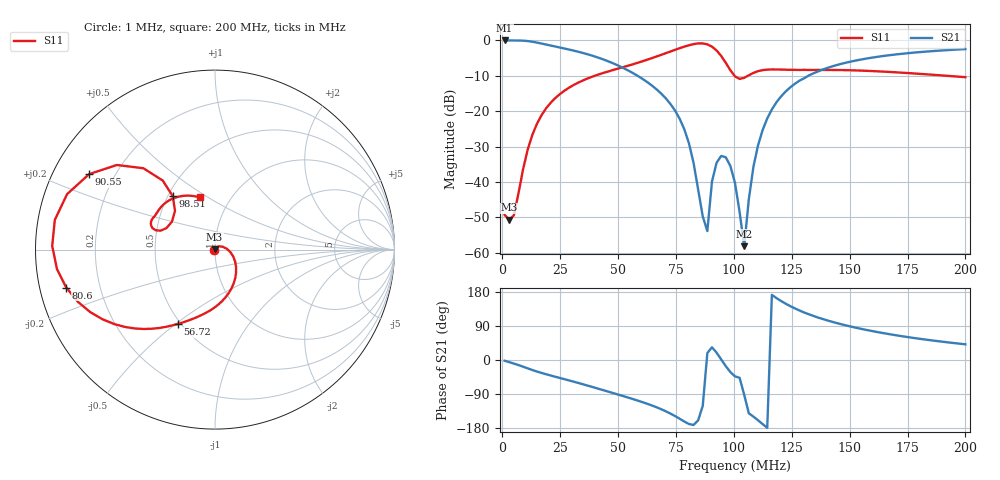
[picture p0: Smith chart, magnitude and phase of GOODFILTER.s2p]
!File created by NanoVNA
# Hz S RI R 50
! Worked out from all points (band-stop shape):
!   101 points, 1 MHz to 200 MHz, reference 50 ohm
!   highest |S21| = 0.00 dB at 1 MHz (marker M1); lowest = -58.2 dB at 104.5 MHz (marker M2)
!   |S21| within 3 dB of the highest: start of sweep to 31.6 MHz; 186 MHz to end of sweep
!   lowest |S11| = -50.7 dB at 2.99 MHz (marker M3), VSWR 1.01, Z = 49.8 + j0.159 ohm
!   |S11| at or under -10 dB: start of sweep to 39.9 MHz; 100.3 MHz to 106 MHz (5.735 MHz wide, 5.56 % of centre); 192.1 MHz to end of sweep
!   S12 and S22 are empty: the file has one direction only
!   S11 on the Smith chart (normalised r, x): 1 MHz: 0.99, +0.00; 56.72 MHz: 0.48, -0.51; 80.6 MHz: 0.08, -0.13; 90.55 MHz: 0.11, +0.27; 98.51 MHz: 0.53, +0.37; 200 MHz: 0.72, +0.46
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1000000  -0.00338 0.000513  0.9992 -0.0326  0 0  0 0
2990000  -0.00244 0.0016  0.9944 -0.0975  0 0  0 0
4980000  -0.00106 0.00319  0.9852 -0.1632  0 0  0 0
1.095e7  0.0218 0.0183  0.9091 -0.3678  0 0  0 0
1.493e7  0.0658 0.00469  0.8053 -0.4712  0 0  0 0
2.289e7  0.1175 -0.0984  0.5883 -0.5722  0 0  0 0
3.483e7  0.0592 -0.2654  0.2912 -0.5979  0 0  0 0
5.672e7  -0.2085 -0.4146  -0.0809 -0.3316  0 0  0 0
6.866e7  -0.4462 -0.4395  -0.1136 -0.1356  0 0  0 0
8.06e7  -0.8284 -0.2121  -0.0346 -0.00678  0 0  0 0
8.856e7  -0.824 0.309  0.00192 0.000639  0 0  0 0
9.055e7  -0.7013 0.4206  0.00841 0.00558  0 0  0 0
9.453e7  -0.399 0.4532  0.0233 0.000622  0 0  0 0
9.851e7  -0.235 0.2971  0.0143 -0.00888  0 0  0 0
1.005e8  -0.2229 0.2158  0.00703 -0.00661  0 0  0 0
1.0448e8  -0.2713 0.119  -4.39e-05 -0.00123  0 0  0 0
1.0846e8  -0.3308 0.1078  -0.0141 -0.00836  0 0  0 0
1.1443e8  -0.3575 0.1483  -0.079 -0.00143  0 0  0 0
1.2239e8  -0.34 0.1826  -0.162 0.099  0 0  0 0
1.3433e8  -0.317 0.2147  -0.1526 0.3071  0 0  0 0
1.6816e8  -0.2012 0.2952  0.2422 0.5751  0 0  0 0
2e8  -0.084 0.2906  0.5663 0.4987  0 0  0 0
